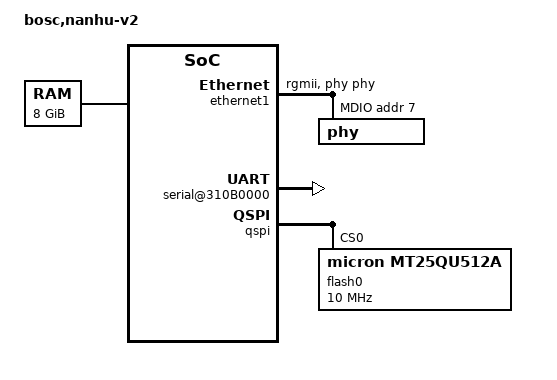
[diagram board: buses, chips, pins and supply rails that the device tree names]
// SPDX-License-Identifier: (GPL-2.0 OR MIT)
/* Copyright (c) 2020-2024 BOSC */

/dts-v1/;

/ {
	#address-cells = <2>;
	#size-cells = <2>;
	compatible = "bosc,nanhu-v2-dev";
	model = "bosc,nanhu-v2";

	cpus {
		#address-cells = <1>;
		#size-cells = <0>;
		timebase-frequency = <500000>;//500Khz

		cpu0: cpu@0 {
			clock-frequency = <1000000>;
			compatible = "bosc,nanhu-v2", "riscv";
			d-cache-block-size = <64>;
			d-cache-sets = <64>;
			d-cache-size = <16384>;
			d-tlb-sets = <1>;
			d-tlb-size = <32>;
			device_type = "cpu";
			i-cache-block-size = <64>;
			i-cache-sets = <64>;
			i-cache-size = <16384>;
			i-tlb-sets = <1>;
			i-tlb-size = <32>;
			mmu-type = "riscv,sv39";
			next-level-cache = <&memory>;
			reg = <0x0>;
			riscv,isa = "rv64imafdc";
			status = "okay";
			timebase-frequency = <500000>;//500Khz
			tlb-split;

			cpu0_intc: interrupt-controller {
				#interrupt-cells = <1>;
				compatible = "riscv,cpu-intc";
				interrupt-controller;
			};
		};

		cpu1: cpu@1 {
			clock-frequency = <0>;
			compatible = "bosc,nanhu-v2", "riscv";
			d-cache-block-size = <64>;
			d-cache-sets = <64>;
			d-cache-size = <16384>;
			d-tlb-sets = <1>;
			d-tlb-size = <32>;
			device_type = "cpu";
			i-cache-block-size = <64>;
			i-cache-sets = <64>;
			i-cache-size = <16384>;
			i-tlb-sets = <1>;
			i-tlb-size = <32>;
			mmu-type = "riscv,sv39";
			next-level-cache = <&memory>;
			reg = <0x1>;
			riscv,isa = "rv64imafdc";
			status = "okay";
			timebase-frequency = <500000>;//500Khz
			tlb-split;

			cpu1_intc: interrupt-controller {
				#interrupt-cells = <1>;
				compatible = "riscv,cpu-intc";
				interrupt-controller;
			};
		};

	};

	soc {
		#address-cells = <2>;
		#size-cells = <2>;
		compatible = "bosc,nanhu-v2-soc", "simple-bus";
		ranges;

		debug_controller0: debug-controller@0 {
			compatible = "sifive,debug-013", "riscv,debug-013";
			interrupts-extended = <&cpu0_intc 65535>;
			reg = <0x0 0x0 0x0 0x1000>;
			reg-names = "control";
		};

		clint0: clint@38000000 {
			compatible = "riscv,clint0";
			interrupts-extended = <&cpu0_intc 3 &cpu0_intc 7 &cpu1_intc 3 &cpu1_intc 7>;
			reg = <0x0 0x38000000 0x0 0x10000>;
			reg-names = "control";
			clock-frequency-mhz = <25>;
		};

		PLIC: interrupt-controller@3c000000 {
			#interrupt-cells = <1>;
			compatible = "riscv,plic0";
			interrupt-controller;
			//interrupts-extended = <&cpu0_intc 9 &cpu0_intc 11 &cpu1_intc 9 &cpu1_intc 11>;
			interrupts-extended = <&cpu0_intc 0xb &cpu0_intc 0x9 &cpu1_intc 0xb &cpu1_intc 0x9>;
			//reg = <0 0xc000000 0 0x4000000>;
			reg = <0 0x3c000000 0 0x4000000>;
			reg-names = "control";
			riscv,max-priority = <7>;
			riscv,ndev = <64>;
		};

		clkc: misc_clk_0 {
			#clock-cells = <0>;
			clock-frequency = <25000000>;
			compatible = "fixed-clock";
		};

		wdt_clkc: wdt_clock{
			#clock-cells = <0>;
			clock-frequency = <50000000>;
			compatible = "fixed-clock";
		};

		ethernet1: ethernet@31010000 {
			compatible = "st,stm32-dwmac", "snps,dwmac-3.50a";
			reg = <0 0x31010000 0 0x10000>;
			reg-names = "stmmaceth";
			interrupt-parent = <&PLIC>;
			interrupts = <3 2 1>;
			interrupt-names = "eth_lpi", "macirq", "eth_wake_irq";
			clock-names = "stmmaceth";
			clocks = <&clkc>;
			//st,syscon = <&syscfg 0x4>;
			snps,pbl = <2>;
			snps,mixed-burst;
			phy-mode = "rgmii";
			// stmmac driver can not find phy if add this node
			//
			phy-handle = <&phy>;

			mdio {
				#address-cells = <0x1>;
				#size-cells = <0x0>;
				phyaddr = <0x7>;
				compatible = "snps,dwmac-mdio";

				phy: phy@7 {
				//phyaddr = <0x7>;
				//compatible = "marvell,88e1116r";
				//device_type = "ethernet-phy";
				reg = <0x7>;
				};
			};
		};

		xdma_0: pcie@40000000 {
			#address-cells = <3>;
			#interrupt-cells = <1>;
			#size-cells = <2>;
			clock-names = "sys_clk", "sys_clk_gt";
			clocks = <&clkc>, <&clkc>;
			compatible = "xlnx,xdma-host-3.00";
			device_type = "pci";
			interrupt-map =	<0x0 0 0 1 &pcie_intc_0 1>,
				<0x0 0 0 2 &pcie_intc_0 2>,
				<0x0 0 0 3 &pcie_intc_0 3>,
				<0x0 0 0 4 &pcie_intc_0 4>;
			interrupt-map-mask = <0x0 0 0 7>;
			interrupt-names = "misc", "msi0", "msi1";
			interrupt-parent = <&PLIC>;
			interrupts = <53 52 51>;
			ranges = <0x02000000 0x00000000 0x60000000 0x0 0x60000000 0x00000000 0x20000000>;
			reg = <0x00000000 0x40000000 0x0 0x20000000>;

			pcie_intc_0: interrupt-controller {
				#address-cells = <0>;
				#interrupt-cells = <1>;
				interrupt-controller ;
			};
		};

		serial@310B0000 {
			compatible = "ns16550a";
			reg = <0x0 0x310B0000 0x0 0x10000>;
			reg-shift = <0x02>;
			reg-io-width = <0x04>;
			interrupt-parent = <&PLIC>;
			interrupts = <40>;
			clock-frequency = <50000000>;
			status = "okay";
		};

		qspi: spi@31000000 {
			compatible = "cdns,qspi-nor";
			#address-cells = <1>;
			#size-cells = <0>;
			reg =
				<0x0 0x31000000 0x0 0x1000>,
				<0x0 0x10000000 0x0 0x10000000>;
			interrupt-parent = <&PLIC>;
			interrupts = <44>;
			cdns,fifo-depth = <128>;
			cdns,fifo-width = <4>;
			cdns,trigger-address = <0x10000000>;
			clocks = <&clkc>;
			status = "okay";

			flash0: mt25qu512a@0 {
				#address-cells = <1>;
				#size-cells = <1>;
				compatible = "micron,mt25qu512a", "jedec,spi-nor";
				reg = <0>;	/* chip select */
				spi-max-frequency = <10000000>;

				m25p,fast-read;
				cdns,page-size = <256>;
				cdns,block-size = <16>;
				cdns,read-delay = <0>;
				cdns,tshsl-ns = <0>;
				cdns,tsd2d-ns = <0>;
				cdns,tchsh-ns = <0>;
				cdns,tslch-ns = <0>;
			};
		};

		sdhci2: sdhci@30050000 {
			compatible = "snps,dwcmshc-sdhci";
			reg = <0 0x30050000 0 0x10000>;
			interrupt-parent = <&PLIC>;
			interrupts = <55 56>;
			clocks = <&clkc>;
			clock-names = "core";
			//sd-uhs-sdr12;
			no-1-8-v;
			disable-wp;
			bus-width = <4>;
			max_req_size = <4096>;
			status = "disabled";
		};

		gpio0: gpio@31110000 {
			compatible = "snps,dw-apb-gpio";
			reg = <0 0x31110000 0 0x10000>;
			#address-cells = <1>;
			#size-cells = <0>;

			porta: gpio-controller@0 {
				compatible = "snps,dw-apb-gpio-port";
				reg = <0>;
				gpio-controller;
				#gpio-cells = <2>;
				snps,nr-gpios = <32>;
				interrupt-controller;
				interrupt-parent = <&PLIC>;
				interrupts = <5  6  7  8  9  10 11 12
						13 14 15 16 17 18 19 20
						21 22 23 24 25 26 27 28
						29 30 31 32 33 34 35 36>;
			};
		};

		watchdog@31130000 {
			compatible = "snps,dw-wdt";
			reg = <0x0 0x31130000 0x0 0x10000>;
			interrupt-parent = <&PLIC>;
			interrupts = <46>;
			clocks = <&wdt_clkc>;
			snps,watchdog-tops =   <0x0001000 0x0002000 0x0004000 0x0008000
						0x0010000 0x0020000 0x0040000 0x0080000
						0x0100000 0x0200000 0x0400000 0x0800000
						0x1000000 0x2000000 0x4000000 0x8000000>;
		};

	};

	chosen {
		bootargs = "root=/dev/sda2 rootfstype=ext4 rw rootwait console=ttyS0,115200n8 earlycon noinitrd";
		stdout-path = "/soc/serial@310B0000";
	};

	memory: memory@100000000 {
		device_type = "memory";
		reg = <0x0 0x80000000 0x2 0x00000000>;
	};
};
